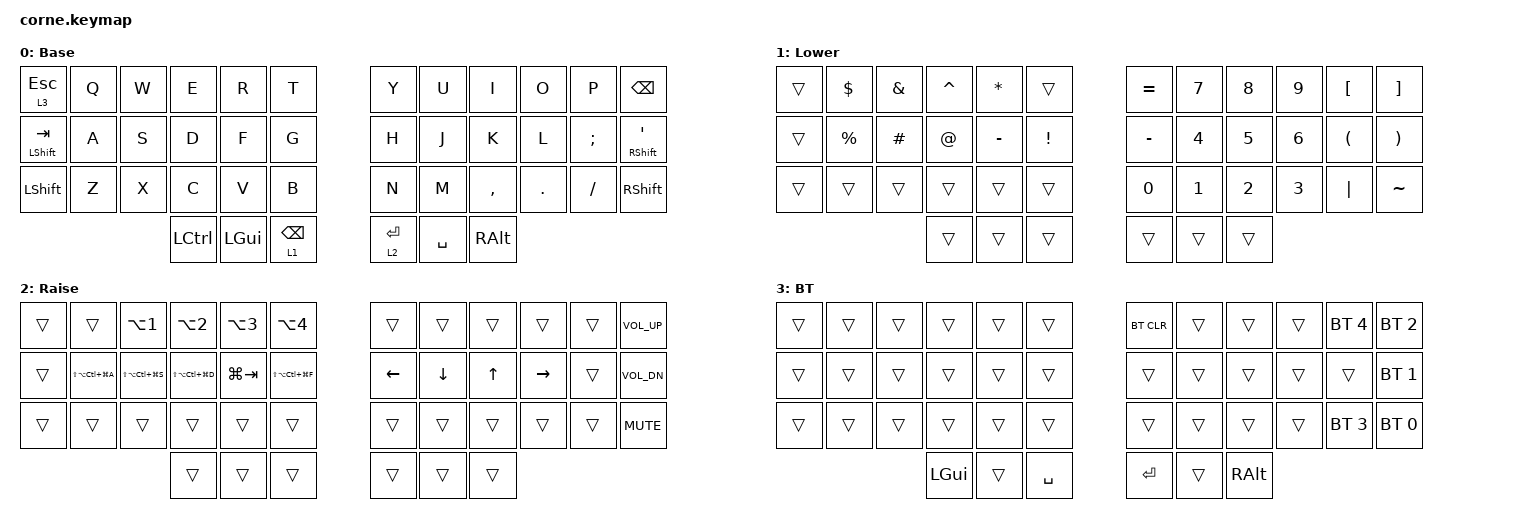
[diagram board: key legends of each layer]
/*
 * Copyright (c) 2020 The ZMK Contributors
 *
 * SPDX-License-Identifier: MIT
 */

#include <behaviors.dtsi>
#include <dt-bindings/zmk/bt.h>
#include <dt-bindings/zmk/keys.h>

/ {
    behaviors {
        LEFT_HAND: LEFT_HAND {
            compatible = "zmk,behavior-hold-tap";
            label = "LEFT_HAND";
            bindings = <&kp>, <&kp>;

            #binding-cells = <2>;
            tapping-term-ms = <280>;
            quick-tap-ms = <175>;
            require-prior-idle-ms = <150>;
            flavor = "balanced";
            hold-trigger-on-release;
            hold-trigger-key-positions = <6 7 18 19 30 31 8 9 10 11 20 21 22 23 32 33 34 35>;
        };

        RIGHT_HAND: RIGHT_HAND {
            compatible = "zmk,behavior-hold-tap";
            label = "RIGHT_HAND";
            bindings = <&kp>, <&kp>;

            #binding-cells = <2>;
            tapping-term-ms = <280>;
            quick-tap-ms = <175>;
            require-prior-idle-ms = <150>;
            flavor = "balanced";
            hold-trigger-on-release;
            hold-trigger-key-positions = <0 12 24 1 2 3 4 5 13 14 15 16 17 25 26 27 28 29 36 37 38>;
        };

        THUMBS: THUMBS {
            compatible = "zmk,behavior-hold-tap";
            label = "THUMBS";
            bindings = <&mo>, <&kp>;

            #binding-cells = <2>;
            flavor = "tap-preferred";
            tapping-term-ms = <200>;
            quick-tap-ms = <175>;
        };
    };

    keymap {
        compatible = "zmk,keymap";

        default_layer {
            // -----------------------------------------------------------------------------------------
            // |  TAB |  Q  |  W  |  E  |  R  |  T  |   |  Y  |  U   |  I  |  O  |  P  | BKSP |
            // | CTRL |  A  |  S  |  D  |  F  |  G  |   |  H  |  J   |  K  |  L  |  ;  |  '   |
            // | SHFT |  Z  |  X  |  C  |  V  |  B  |   |  N  |  M   |  ,  |  .  |  /  | ESC  |
            //                    | GUI | LWR | SPC |   | ENT | RSE  | ALT |

            display-name = "Base";
            bindings = <
&lt 3 ESC                  &kp Q  &kp W  &kp E             &kp R         &kp T                  &kp Y            &kp U      &kp I          &kp O    &kp P          &kp BACKSPACE
&LEFT_HAND LEFT_SHIFT TAB  &kp A  &kp S  &kp D             &kp F         &kp G                  &kp H            &kp J      &kp K          &kp L    &kp SEMICOLON  &RIGHT_HAND RIGHT_SHIFT SQT
&kp LEFT_SHIFT             &kp Z  &kp X  &kp C             &kp V         &kp B                  &kp N            &kp M      &kp COMMA      &kp DOT  &kp FSLH       &kp RIGHT_SHIFT
                                         &kp LEFT_CONTROL  &kp LEFT_GUI  &THUMBS 1 BACKSPACE    &THUMBS 2 ENTER  &kp SPACE  &kp RIGHT_ALT
            >;
        };

        lower_layer {
            // -----------------------------------------------------------------------------------------
            // |  TAB |  1  |  2  |  3  |  4  |  5  |   |  6  |  7  |  8  |  9  |  0  | BKSP |
            // | BTCLR| BT1 | BT2 | BT3 | BT4 | BT5 |   | LFT | DWN |  UP | RGT |     |      |
            // | SHFT |     |     |     |     |     |   |     |     |     |     |     |      |
            //                    | GUI |     | SPC |   | ENT |     | ALT |

            display-name = "Lower";
            bindings = <
&trans  &kp DOLLAR   &kp AMPS  &kp CARET  &kp STAR   &trans      &kp EQUAL     &kp N7        &kp N8        &kp N9        &kp LEFT_BRACKET      &kp RBKT
&trans  &kp PERCENT  &kp HASH  &kp AT     &kp MINUS  &kp EXCL    &kp MINUS     &kp NUMBER_4  &kp N5        &kp NUMBER_6  &kp LEFT_PARENTHESIS  &kp RPAR
&trans  &trans       &trans    &trans     &trans     &trans      &kp NUMBER_0  &kp NUMBER_1  &kp NUMBER_2  &kp NUMBER_3  &kp PIPE              &kp TILDE
                               &trans     &trans     &trans      &trans        &trans        &trans
            >;
        };

        raise_layer {
            // -----------------------------------------------------------------------------------------
            // |  TAB |  !  |  @  |  #  |  $  |  %  |   |  ^  |  &  |  *  |  (  |  )  | BKSP |
            // | CTRL |     |     |     |     |     |   |  -  |  =  |  [  |  ]  |  \  |  `   |
            // | SHFT |     |     |     |     |     |   |  _  |  +  |  {  |  }  | "|" |  ~   |
            //                    | GUI |     | SPC |   | ENT |     | ALT |

            display-name = "Raise";
            bindings = <
&trans  &trans                 &kp LA(NUMBER_1)       &kp LA(NUMBER_2)       &kp LA(NUMBER_3)  &kp LA(NUMBER_4)         &trans    &trans          &trans        &trans     &trans  &kp C_VOLUME_UP
&trans  &kp LS(LA(LC(LG(A))))  &kp LS(LA(LC(LG(S))))  &kp LS(LA(LC(LG(D))))  &kp LG(TAB)       &kp LS(LA(LC(LG(F))))    &kp LEFT  &kp DOWN_ARROW  &kp UP_ARROW  &kp RIGHT  &trans  &kp C_VOL_DN
&trans  &trans                 &trans                 &trans                 &trans            &trans                   &trans    &trans          &trans        &trans     &trans  &kp K_MUTE
                                                      &trans                 &trans            &trans                   &trans    &trans          &trans
            >;
        };

        Bluetooth {
            display-name = "BT";
            bindings = <
&trans  &trans  &trans  &trans    &trans  &trans       &bt BT_CLR  &trans  &trans    &trans  &bt BT_SEL 4  &bt BT_SEL 2
&trans  &trans  &trans  &trans    &trans  &trans       &trans      &trans  &trans    &trans  &trans        &bt BT_SEL 1
&trans  &trans  &trans  &trans    &trans  &trans       &trans      &trans  &trans    &trans  &bt BT_SEL 3  &bt BT_SEL 0
                        &kp LGUI  &trans  &kp SPACE    &kp RET     &trans  &kp RALT
            >;
        };

        extra_1 { status = "reserved"; };

        extra_2 { status = "reserved"; };

        extra_3 { status = "reserved"; };
    };
};
